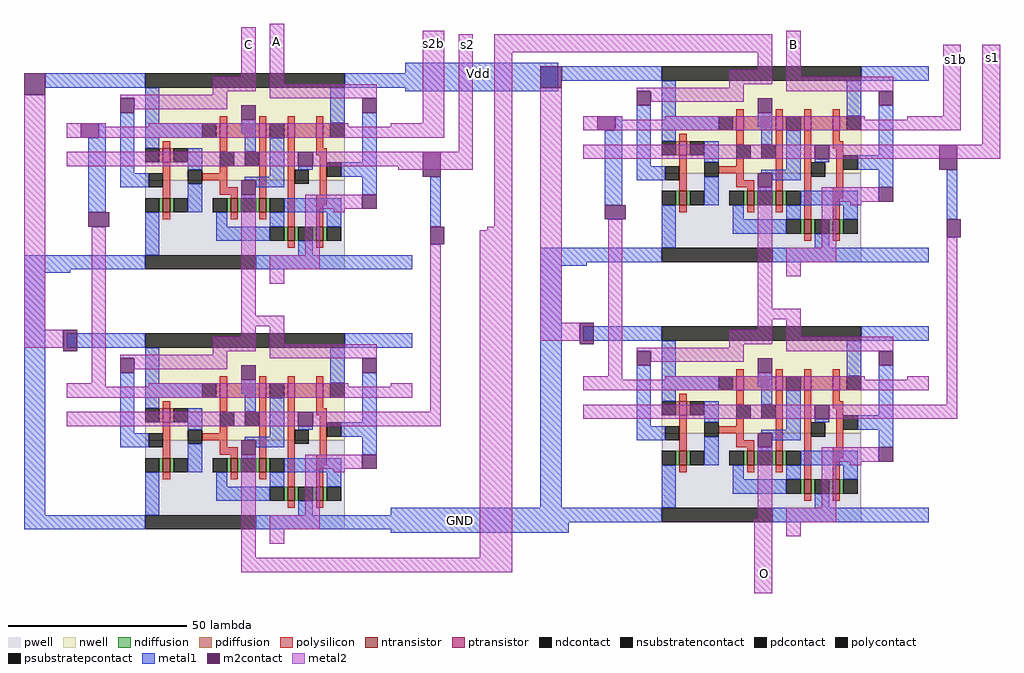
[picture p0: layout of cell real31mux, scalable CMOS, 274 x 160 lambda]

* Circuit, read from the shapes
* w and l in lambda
.subckt real31mux A B C GND O Vdd s1 s1b s2 s2b
M1 n1 real21mux_0/2to1muxfixed_0/D GND GND nfet w=4 l=2
M2 n2 C GND GND nfet w=4 l=2
M3 real21mux_0/2to1muxfixed_1/D n1 n3 GND nfet w=4 l=2
M4 real21mux_0/2to1muxfixed_0/D n2 n4 GND nfet w=4 l=2
M5 n3 s2b real21mux_0/2to1muxfixed_1/D GND nfet w=4 l=2
M6 n4 s2b real21mux_0/2to1muxfixed_0/D GND nfet w=4 l=2
M7 GND s2 n3 GND nfet w=4 l=2
M8 GND s2 n4 GND nfet w=4 l=2
M9 n3 real21mux_0/2to1muxfixed_0/D GND GND nfet w=4 l=2
M10 n4 A GND GND nfet w=4 l=2
M11 n5 real21mux_1/2to1muxfixed_0/D GND GND nfet w=4 l=2
M12 n6 real21mux_0/2to1muxfixed_1/D GND GND nfet w=4 l=2
M13 O n5 n7 GND nfet w=4 l=2
M14 real21mux_1/2to1muxfixed_0/D n6 n8 GND nfet w=4 l=2
M15 n7 s1b O GND nfet w=4 l=2
M16 n8 s1b real21mux_1/2to1muxfixed_0/D GND nfet w=4 l=2
M17 GND s1 n7 GND nfet w=4 l=2
M18 GND s1 n8 GND nfet w=4 l=2
M19 n7 real21mux_1/2to1muxfixed_0/D GND GND nfet w=4 l=2
M20 n8 B GND GND nfet w=4 l=2
M21 n1 real21mux_0/2to1muxfixed_0/D Vdd Vdd pfet w=4 l=2
M22 n2 C Vdd Vdd pfet w=4 l=2
M23 n9 n1 Vdd Vdd pfet w=4 l=2
M24 n10 n2 Vdd Vdd pfet w=4 l=2
M25 real21mux_0/2to1muxfixed_1/D s2b n9 Vdd pfet w=4 l=2
M26 real21mux_0/2to1muxfixed_0/D s2b n10 Vdd pfet w=4 l=2
M27 n11 s2 real21mux_0/2to1muxfixed_1/D Vdd pfet w=4 l=2
M28 n12 s2 real21mux_0/2to1muxfixed_0/D Vdd pfet w=4 l=2
M29 Vdd real21mux_0/2to1muxfixed_0/D n11 Vdd pfet w=4 l=2
M30 Vdd A n12 Vdd pfet w=4 l=2
M31 n5 real21mux_1/2to1muxfixed_0/D Vdd Vdd pfet w=4 l=2
M32 n6 real21mux_0/2to1muxfixed_1/D Vdd Vdd pfet w=4 l=2
M33 n13 n5 Vdd Vdd pfet w=4 l=2
M34 n14 n6 Vdd Vdd pfet w=4 l=2
M35 O s1b n13 Vdd pfet w=4 l=2
M36 real21mux_1/2to1muxfixed_0/D s1b n14 Vdd pfet w=4 l=2
M37 n15 s1 O Vdd pfet w=4 l=2
M38 n16 s1 real21mux_1/2to1muxfixed_0/D Vdd pfet w=4 l=2
M39 Vdd real21mux_1/2to1muxfixed_0/D n15 Vdd pfet w=4 l=2
M40 Vdd B n16 Vdd pfet w=4 l=2
.ends

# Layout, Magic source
magic
tech scmos
<< metal1 >>
rect 113 127 156 135
rect 109 3 159 10
<< metal2 >>
rect 67 135 71 145
rect 75 136 79 146
rect 118 114 124 144
rect 128 110 132 143
rect 111 105 132 110
rect 138 138 216 143
rect 138 89 143 138
rect 212 137 216 138
rect 220 136 224 144
rect 264 116 269 140
rect 275 112 280 140
rect 259 108 280 112
rect 136 88 143 89
rect 67 -4 71 9
rect 134 -4 143 88
rect 67 -8 143 -4
rect 211 -14 216 7
use real21mux  real21mux_0
transform 1 0 18 0 1 72
box -12 -72 106 65
use real21mux  real21mux_1
transform 1 0 163 0 1 74
box -12 -72 106 65
<< labels >>
rlabel metal2 67 135 71 145 1 C
rlabel metal2 75 136 79 146 1 A
rlabel metal2 119 137 123 144 1 s2b
rlabel metal2 129 138 132 142 1 s2
rlabel metal2 220 136 224 144 1 B
rlabel metal1 128 131 139 133 1 Vdd
rlabel metal1 120 4 137 9 1 GND
rlabel metal2 212 -14 216 -3 1 O
rlabel metal2 276 133 280 140 1 s1
rlabel metal2 266 133 269 139 1 s1b
<< end >>

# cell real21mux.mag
magic
tech scmos
<< metal1 >>
rect -6 56 1 60
rect 9 42 11 46
rect 6 21 11 42
rect 102 17 105 31
rect -12 4 1 9
rect -12 -64 -6 4
rect -12 -68 0 -64
<< metal2 >>
rect -12 -12 -6 54
rect 95 42 105 46
rect 7 34 12 38
rect 93 34 100 38
rect -12 -17 -1 -12
rect 7 -28 11 17
rect 49 -8 53 10
rect 49 -11 61 -8
rect 7 -31 12 -28
rect 102 -35 105 12
rect 92 -39 105 -35
<< m2contact >>
rect -12 54 -6 60
rect 4 42 9 46
rect 100 31 105 38
rect 6 17 12 21
rect 102 12 106 17
rect -1 -18 3 -12
use 2to1muxfixed  2to1muxfixed_0
transform 1 0 31 0 1 35
box -31 -34 66 30
use 2to1muxfixed  2to1muxfixed_1
transform 1 0 31 0 1 -38
box -31 -34 66 30
<< end >>

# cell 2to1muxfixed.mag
magic
tech scmos
<< pwell >>
rect -9 -30 47 -5
<< nwell >>
rect -9 -5 47 25
<< polysilicon >>
rect 12 11 14 13
rect 23 11 25 13
rect 31 11 33 13
rect 39 11 41 13
rect -4 4 -2 6
rect 12 3 14 7
rect -4 -10 -2 0
rect 12 -3 14 -1
rect 7 -5 14 -3
rect 12 -7 14 -5
rect 12 -9 17 -7
rect 15 -10 17 -9
rect 23 -10 25 7
rect -4 -16 -2 -14
rect 15 -16 17 -14
rect 23 -16 25 -14
rect 31 -18 33 7
rect 39 4 41 7
rect 39 2 42 4
rect 40 -9 42 2
rect 39 -12 42 -9
rect 39 -18 41 -12
rect 31 -24 33 -22
rect 39 -24 41 -22
<< ndiffusion >>
rect -5 -14 -4 -10
rect -2 -14 -1 -10
rect 14 -14 15 -10
rect 17 -14 18 -10
rect 22 -14 23 -10
rect 25 -14 26 -10
rect 30 -22 31 -18
rect 33 -22 34 -18
rect 38 -22 39 -18
rect 41 -22 42 -18
<< pdiffusion >>
rect 11 7 12 11
rect 14 7 23 11
rect 25 7 26 11
rect 30 7 31 11
rect 33 7 39 11
rect 41 7 43 11
rect -5 0 -4 4
rect -2 0 -1 4
<< metal1 >>
rect -31 21 -9 25
rect 47 21 66 25
rect -16 -3 -12 14
rect -9 11 -5 21
rect -9 7 7 11
rect 18 8 22 12
rect 43 11 47 21
rect -9 4 -5 7
rect 3 -2 7 4
rect 19 3 22 8
rect -16 -7 -8 -3
rect 26 -4 30 7
rect 52 0 56 14
rect 34 -2 38 -1
rect 19 -5 30 -4
rect 3 -14 7 -6
rect 22 -7 30 -5
rect 46 -4 56 0
rect 18 -10 22 -9
rect 52 -9 56 -4
rect 30 -14 46 -10
rect -9 -26 -5 -14
rect 11 -18 14 -14
rect 26 -18 30 -14
rect 42 -18 46 -14
rect 11 -22 26 -18
rect 34 -26 38 -22
rect -31 -30 -9 -26
rect 22 -30 66 -26
<< metal2 >>
rect 18 24 22 30
rect 10 20 22 24
rect 26 22 30 30
rect 10 19 14 20
rect -16 18 14 19
rect 26 18 56 22
rect -12 15 14 18
rect 18 11 22 12
rect -31 10 -20 11
rect -8 10 48 11
rect 60 10 66 11
rect -31 7 66 10
rect -31 -1 34 3
rect 38 -1 66 3
rect 18 -34 22 -9
rect 36 -13 52 -9
rect 36 -26 40 -13
rect 44 -14 47 -13
rect 26 -30 40 -26
rect 26 -34 30 -30
<< ntransistor >>
rect -4 -14 -2 -10
rect 15 -14 17 -10
rect 23 -14 25 -10
rect 31 -22 33 -18
rect 39 -22 41 -18
<< ptransistor >>
rect 12 7 14 11
rect 23 7 25 11
rect 31 7 33 11
rect 39 7 41 11
rect -4 0 -2 4
<< polycontact >>
rect -8 -7 -4 -3
rect 12 -1 16 3
rect 19 -1 23 3
rect 3 -6 7 -2
rect 33 -6 37 -2
rect 42 -4 46 0
<< ndcontact >>
rect -9 -14 -5 -10
rect -1 -14 3 -10
rect 10 -14 14 -10
rect 18 -14 22 -10
rect 26 -14 30 -10
rect 26 -22 30 -18
rect 34 -22 38 -18
rect 42 -22 46 -18
<< pdcontact >>
rect 7 7 11 11
rect 26 7 30 11
rect 43 7 47 11
rect -9 0 -5 4
rect -1 0 3 4
<< m2contact >>
rect -16 14 -12 18
rect 18 12 22 16
rect 52 14 56 18
rect 34 -1 38 3
rect 18 -9 22 -5
rect 52 -13 56 -9
<< psubstratepcontact >>
rect -9 -30 22 -26
<< nsubstratencontact >>
rect -9 21 47 25
<< labels >>
rlabel nwell -9 -5 47 25 8 Vdd
rlabel pwell -9 -30 47 -5 6 Gnd
rlabel metal2 26 -34 30 -26 5 Qb
rlabel metal2 18 -34 22 -9 5 D
rlabel metal2 18 20 22 30 1 divisor
rlabel space -8 7 58 11 3 loadb
rlabel metal2 38 -1 58 3 3 load
<< end >>
